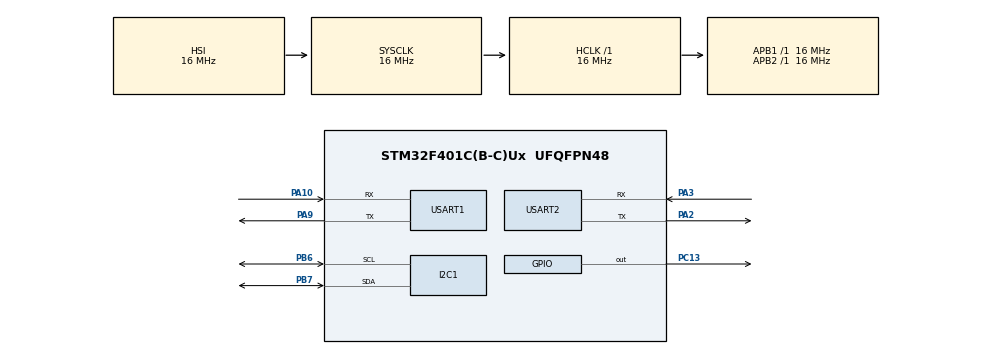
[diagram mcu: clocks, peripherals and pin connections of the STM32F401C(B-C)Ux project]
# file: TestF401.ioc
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FREERTOS.INCLUDE_eTaskGetState=1
FREERTOS.Mutexes01=myMutex,Dynamic,NULL,Available
FREERTOS.Tasks01=taskGPS,0,256,StartGPSTask,Default,NULL,Dynamic,NULL,NULL;taskMQTT,0,256,StartMQTTTask,Default,NULL,Dynamic,NULL,NULL;taskOLED,0,256,StartOLEDTask,Default,NULL,Dynamic,NULL,NULL
I2C1.I2C_Mode=I2C_Fast
Mcu.Family=STM32F4
Mcu.Name=STM32F401C(B-C)Ux
Mcu.Package=UFQFPN48
NVIC.PriorityGroup=NVIC_PRIORITYGROUP_4
NVIC.TIM1_UP_TIM10_IRQn=true\:15\:0\:false\:false\:true\:false\:false\:true\:true
NVIC.TimeBase=TIM1_UP_TIM10_IRQn
NVIC.TimeBaseIP=TIM1
NVIC.USART2_IRQn=true\:5\:0\:false\:false\:true\:true\:true\:true\:true
PA10.Mode=Asynchronous
PA10.Signal=USART1_RX
PA13.Mode=Serial_Wire
PA13.Signal=SYS_JTMS-SWDIO
PA14.Mode=Serial_Wire
PA14.Signal=SYS_JTCK-SWCLK
PA2.Mode=Asynchronous
PA2.Signal=USART2_TX
PA3.Mode=Asynchronous
PA3.Signal=USART2_RX
PA9.Mode=Asynchronous
PA9.Signal=USART1_TX
PB6.Mode=I2C
PB6.Signal=I2C1_SCL
PB7.Mode=I2C
PB7.Signal=I2C1_SDA
PC13-ANTI_TAMP.Signal=GPIO_Output
PH0\ -\ OSC_IN.Mode=HSE-External-Oscillator
PH0\ -\ OSC_IN.Signal=RCC_OSC_IN
PH1\ -\ OSC_OUT.Mode=HSE-External-Oscillator
PH1\ -\ OSC_OUT.Signal=RCC_OSC_OUT
ProjectManager.HeapSize=0x200
ProjectManager.StackSize=0x400
ProjectManager.TargetToolchain=MDK-ARM V5.32
RCC.AHBFreq_Value=16000000
RCC.APB1Freq_Value=16000000
RCC.APB1TimFreq_Value=16000000
RCC.APB2Freq_Value=16000000
RCC.APB2TimFreq_Value=16000000
RCC.CortexFreq_Value=16000000
RCC.HCLKFreq_Value=16000000
RCC.HSE_VALUE=25000000
RCC.HSI_VALUE=16000000
RCC.LSE_VALUE=32768
RCC.SYSCLKFreq_VALUE=16000000
RCC.VCOOutputFreq_Value=192000000
USART1.VirtualMode=VM_ASYNC
USART2.VirtualMode=VM_ASYNC
VP_FREERTOS_VS_CMSIS_V1.Mode=CMSIS_V1
VP_SYS_VS_tim1.Mode=TIM1
board=custom

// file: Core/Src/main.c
/* USER CODE BEGIN Header */
/**
 ******************************************************************************
 * @file           : main.c
 * @brief          : Main program body
 ******************************************************************************
 * @attention
 *
 * Copyright (c) 2025 STMicroelectronics.
 * All rights reserved.
 *
 * This software is licensed under terms that can be found in the LICENSE file
 * in the root directory of this software component.
 * If no LICENSE file comes with this software, it is provided AS-IS.
 *
 ******************************************************************************
 */
/* USER CODE END Header */
#include "main.h"
#include "cmsis_os.h"

/* USER CODE BEGIN Includes */
#include <string.h>
#include <stdio.h>
#include "ssd1306.h"
#include "fonts.h"
#include "uart_mqtt.h"
#include <stdint.h>
#include <stdbool.h>
#include "nmea_parser.h"
/* USER CODE END Includes */

/* USER CODE BEGIN PD */
#define NMEA_LINE_MAX_LEN 128
/* USER CODE END PD */

I2C_HandleTypeDef hi2c1;

UART_HandleTypeDef huart1;
UART_HandleTypeDef huart2;

osThreadId taskGPSHandle;
osThreadId taskMQTTHandle;
osThreadId taskOLEDHandle;
osMutexId myMutexHandle;

void SystemClock_Config(void);
static void MX_GPIO_Init(void);
static void MX_I2C1_Init(void);
static void MX_USART1_UART_Init(void);
static void MX_USART2_UART_Init(void);
void StartGPSTask(void const *argument);
void StartMQTTTask(void const *argument);
void StartOLEDTask(void const *argument);

/* USER CODE BEGIN 0 */
const char *device_id = "gps_device";
uint8_t rxBuffer[128] = {0};
uint8_t rxIndex = 0;
uint8_t rxData;
volatile bool gpsDataReady = false;
// BaseType_t mmr;
// char buff[128];
volatile char latestNMEABuffer[NMEA_LINE_MAX_LEN] = {0};
Location GPS;

void updateOLED(float lat, float lon)
{
  char bufferLat[15], bufferLon[15];
  sprintf(bufferLat, "%.6f", lat);
  sprintf(bufferLon, "%.6f", lon);

  SSD1306_Clear();
  SSD1306_GotoXY(40, 1);
  SSD1306_Puts("Latitude", &Font_7x10, SSD1306_COLOR_WHITE);
  SSD1306_GotoXY(40, 15);
  SSD1306_Puts(bufferLat, &Font_7x10, SSD1306_COLOR_WHITE);
  SSD1306_GotoXY(40, 30);
  SSD1306_Puts("Longitude", &Font_7x10, SSD1306_COLOR_WHITE);
  SSD1306_GotoXY(40, 45);
  SSD1306_Puts(bufferLon, &Font_7x10, SSD1306_COLOR_WHITE);
  SSD1306_UpdateScreen();
}

void cleanBuffer(char *buffer)
{
  char tempBuffer[128];
  int j = 0;
  int dollar_found = 0;

  for (int i = 0; buffer[i] != '\0'; i++)
  {
    if (buffer[i] == '\r' || buffer[i] == '\n' || buffer[i] == ' ')
      continue;
    if (buffer[i] == '$')
    {
      if (!dollar_found)
      {
        tempBuffer[j++] = buffer[i];
        dollar_found = 1;
      }
      continue;
    }

    tempBuffer[j++] = buffer[i];
  }

  tempBuffer[j] = '\0';
  strcpy(buffer, tempBuffer);
}

void HAL_UART_RxCpltCallback(UART_HandleTypeDef *huart)
{
  if (huart->Instance == USART2)
  {
    HAL_GPIO_TogglePin(GPIOC, GPIO_PIN_13);

    if (rxIndex < sizeof(rxBuffer) - 1)
    {
      if (rxData != '\n')
      {
        rxBuffer[rxIndex++] = rxData;
      }
      else
      {
        rxBuffer[rxIndex] = '\0';
        cleanBuffer((char *)rxBuffer);

        if (gps_Validate((char *)rxBuffer))
        {
          strncpy((char *)latestNMEABuffer, (char *)rxBuffer, NMEA_LINE_MAX_LEN - 1);
          latestNMEABuffer[NMEA_LINE_MAX_LEN - 1] = '\0';
          gpsDataReady = true;

          if (taskGPSHandle != NULL)
          {
            BaseType_t xHigherPriorityTaskWoken = pdFALSE;
            vTaskNotifyGiveFromISR(taskGPSHandle, &xHigherPriorityTaskWoken);
            portYIELD_FROM_ISR(xHigherPriorityTaskWoken);
          }
        }

        rxIndex = 0;
        memset(rxBuffer, 0, sizeof(rxBuffer));
      }
    }
    else
    {
      rxIndex = 0;
      memset(rxBuffer, 0, sizeof(rxBuffer));
    }
    HAL_UART_Receive_IT(&huart2, &rxData, 1);
  }
}
/* USER CODE END 0 */

int main(void)
{

  /* MCU Configuration--------------------------------------------------------*/

  /* Reset of all peripherals, Initializes the Flash interface and the Systick. */
  HAL_Init();

  /* Configure the system clock */
  SystemClock_Config();

  /* Initialize all configured peripherals */
  MX_GPIO_Init();
  MX_I2C1_Init();
  MX_USART1_UART_Init();
  MX_USART2_UART_Init();
  /* USER CODE BEGIN 2 */
  SSD1306_Init();
  HAL_UART_Receive_IT(&huart2, &rxData, 1);
  /* USER CODE END 2 */

  /* Create the mutex(es) */
  /* definition and creation of myMutex */
  osMutexDef(myMutex);
  myMutexHandle = osMutexCreate(osMutex(myMutex));

  /* Create the thread(s) */
  /* definition and creation of taskGPS */
  osThreadDef(taskGPS, StartGPSTask, osPriorityNormal, 0, 256);
  taskGPSHandle = osThreadCreate(osThread(taskGPS), NULL);

  /* definition and creation of taskMQTT */
  osThreadDef(taskMQTT, StartMQTTTask, osPriorityNormal, 0, 256);
  taskMQTTHandle = osThreadCreate(osThread(taskMQTT), NULL);

  /* definition and creation of taskOLED */
  osThreadDef(taskOLED, StartOLEDTask, osPriorityNormal, 0, 256);
  taskOLEDHandle = osThreadCreate(osThread(taskOLED), NULL);

  /* Start scheduler */
  osKernelStart();

  /* We should never get here as control is now taken by the scheduler */

  /* Infinite loop */
  while (1)
  {

  }
}

void SystemClock_Config(void)
{
  RCC_OscInitTypeDef RCC_OscInitStruct = {0};
  RCC_ClkInitTypeDef RCC_ClkInitStruct = {0};

  /** Configure the main internal regulator output voltage
   */
  __HAL_RCC_PWR_CLK_ENABLE();
  __HAL_PWR_VOLTAGESCALING_CONFIG(PWR_REGULATOR_VOLTAGE_SCALE2);

  /** Initializes the RCC Oscillators according to the specified parameters
   * in the RCC_OscInitTypeDef structure.
   */
  RCC_OscInitStruct.OscillatorType = RCC_OSCILLATORTYPE_HSI;
  RCC_OscInitStruct.HSIState = RCC_HSI_ON;
  RCC_OscInitStruct.HSICalibrationValue = RCC_HSICALIBRATION_DEFAULT;
  RCC_OscInitStruct.PLL.PLLState = RCC_PLL_NONE;
  if (HAL_RCC_OscConfig(&RCC_OscInitStruct) != HAL_OK)
  {
    Error_Handler();
  }

  /** Initializes the CPU, AHB and APB buses clocks
   */
  RCC_ClkInitStruct.ClockType = RCC_CLOCKTYPE_HCLK | RCC_CLOCKTYPE_SYSCLK | RCC_CLOCKTYPE_PCLK1 | RCC_CLOCKTYPE_PCLK2;
  RCC_ClkInitStruct.SYSCLKSource = RCC_SYSCLKSOURCE_HSI;
  RCC_ClkInitStruct.AHBCLKDivider = RCC_SYSCLK_DIV1;
  RCC_ClkInitStruct.APB1CLKDivider = RCC_HCLK_DIV1;
  RCC_ClkInitStruct.APB2CLKDivider = RCC_HCLK_DIV1;

  if (HAL_RCC_ClockConfig(&RCC_ClkInitStruct, FLASH_LATENCY_0) != HAL_OK)
  {
    Error_Handler();
  }
}

static void MX_I2C1_Init(void)
{

  hi2c1.Instance = I2C1;
  hi2c1.Init.ClockSpeed = 400000;
  hi2c1.Init.DutyCycle = I2C_DUTYCYCLE_2;
  hi2c1.Init.OwnAddress1 = 0;
  hi2c1.Init.AddressingMode = I2C_ADDRESSINGMODE_7BIT;
  hi2c1.Init.DualAddressMode = I2C_DUALADDRESS_DISABLE;
  hi2c1.Init.OwnAddress2 = 0;
  hi2c1.Init.GeneralCallMode = I2C_GENERALCALL_DISABLE;
  hi2c1.Init.NoStretchMode = I2C_NOSTRETCH_DISABLE;
  if (HAL_I2C_Init(&hi2c1) != HAL_OK)
  {
    Error_Handler();
  }
}

static void MX_USART1_UART_Init(void)
{

  huart1.Instance = USART1;
  huart1.Init.BaudRate = 115200;
  huart1.Init.WordLength = UART_WORDLENGTH_8B;
  huart1.Init.StopBits = UART_STOPBITS_1;
  huart1.Init.Parity = UART_PARITY_NONE;
  huart1.Init.Mode = UART_MODE_TX_RX;
  huart1.Init.HwFlowCtl = UART_HWCONTROL_NONE;
  huart1.Init.OverSampling = UART_OVERSAMPLING_16;
  if (HAL_UART_Init(&huart1) != HAL_OK)
  {
    Error_Handler();
  }
}

static void MX_USART2_UART_Init(void)
{

  huart2.Instance = USART2;
  huart2.Init.BaudRate = 115200;
  huart2.Init.WordLength = UART_WORDLENGTH_8B;
  huart2.Init.StopBits = UART_STOPBITS_1;
  huart2.Init.Parity = UART_PARITY_NONE;
  huart2.Init.Mode = UART_MODE_TX_RX;
  huart2.Init.HwFlowCtl = UART_HWCONTROL_NONE;
  huart2.Init.OverSampling = UART_OVERSAMPLING_16;
  if (HAL_UART_Init(&huart2) != HAL_OK)
  {
    Error_Handler();
  }
}

static void MX_GPIO_Init(void)
{
  GPIO_InitTypeDef GPIO_InitStruct = {0};

  /* GPIO Ports Clock Enable */
  __HAL_RCC_GPIOC_CLK_ENABLE();
  __HAL_RCC_GPIOH_CLK_ENABLE();
  __HAL_RCC_GPIOA_CLK_ENABLE();
  __HAL_RCC_GPIOB_CLK_ENABLE();

  /*Configure GPIO pin Output Level */
  HAL_GPIO_WritePin(GPIOC, GPIO_PIN_13, GPIO_PIN_RESET);

  /*Configure GPIO pin : PC13 */
  GPIO_InitStruct.Pin = GPIO_PIN_13;
  GPIO_InitStruct.Mode = GPIO_MODE_OUTPUT_PP;
  GPIO_InitStruct.Pull = GPIO_NOPULL;
  GPIO_InitStruct.Speed = GPIO_SPEED_FREQ_LOW;
  HAL_GPIO_Init(GPIOC, &GPIO_InitStruct);

}

void StartGPSTask(void const *argument)
{
  Location local = {0};
  Location lastGPS = {0};
  char tempLine[NMEA_LINE_MAX_LEN];

  for (;;)
  {
    ulTaskNotifyTake(pdTRUE, portMAX_DELAY);

    bool parseReady = false;

    if (osMutexWait(myMutexHandle, osWaitForever) == osOK)
    {
      if (gpsDataReady)
      {
        strncpy(tempLine, (char *)latestNMEABuffer, NMEA_LINE_MAX_LEN - 1);
        tempLine[NMEA_LINE_MAX_LEN - 1] = '\0';
        gpsDataReady = false;
        parseReady = true;
      }
      osMutexRelease(myMutexHandle);
    }

    if (parseReady && gpsParse(tempLine, &local))
    {
      if (local.decimalLat != lastGPS.decimalLat || local.decimalLong != lastGPS.decimalLong)
      {
        if (osMutexWait(myMutexHandle, osWaitForever) == osOK)
        {
          GPS = local;
          osMutexRelease(myMutexHandle);
          lastGPS = local;
          vTaskResume(taskOLEDHandle);
        }
      }
    }
  }
}

void StartMQTTTask(void const *argument)
{
  /* USER CODE BEGIN StartMQTTTask */
  Location local = {0};
  /* Infinite loop */
  for (;;)
  {
    osMutexWait(myMutexHandle, osWaitForever);
    local = GPS;
    osMutexRelease(myMutexHandle);
    if (local.decimalLat != 0.0f && local.decimalLong != 0.0f)
      mqttPublish(device_id, GPS.decimalLat, GPS.decimalLong);
    osDelay(pdMS_TO_TICKS(2000));
  }
  /* USER CODE END StartMQTTTask */
}

void StartOLEDTask(void const *argument)
{
  /* USER CODE BEGIN StartOLEDTask */
  Location local;
  /* Infinite loop */
  for (;;)
  {
    osMutexWait(myMutexHandle, osWaitForever);
    local = GPS;
    osMutexRelease(myMutexHandle);
    updateOLED(local.decimalLat, local.decimalLong);
    vTaskSuspend(NULL);
  }
  /* USER CODE END StartOLEDTask */
}

void HAL_TIM_PeriodElapsedCallback(TIM_HandleTypeDef *htim)
{
  if (htim->Instance == TIM1)
  {
    HAL_IncTick();
  }
}

void Error_Handler(void)
{
  __disable_irq();
  while (1)
  {
  }
}
